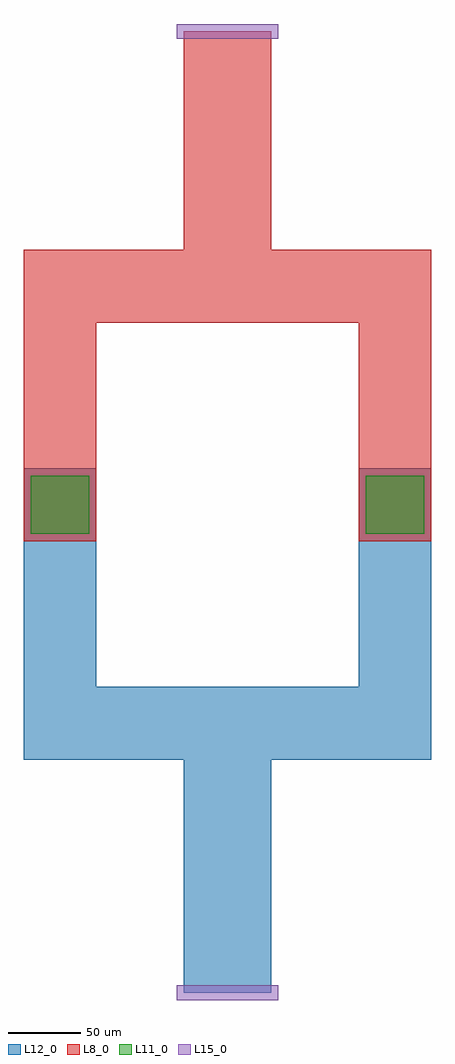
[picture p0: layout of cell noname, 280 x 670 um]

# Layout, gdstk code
import gdstk
lib = gdstk.Library(unit=1e-6, precision=1e-09)
def R(c, l, rs):  # rectangles x0, y0, x1, y1
    for r in rs: c.add(gdstk.rectangle(r[:2], r[2:], *l))
L8_0 = (8, 0)
L11_0 = (11, 0)
L12_0 = (12, 0)
L15_0 = (15, 0)

noname = lib.new_cell('noname')
R(noname, L8_0, [(0,-180,50,20), (230,-180,280,20), (0,-30,280,20), (110,20,170,170)])
R(noname, L11_0, [(5,-175,45,-135), (235,-175,275,-135)])
R(noname, L12_0, [(110,-490,170,-330), (0,-330,50,-130), (0,-330,280,-280), (230,-330,280,-130)])
R(noname, L15_0, [(105,-495,175,-485), (105,165,175,175)])

lib.write_gds('noname.gds')
